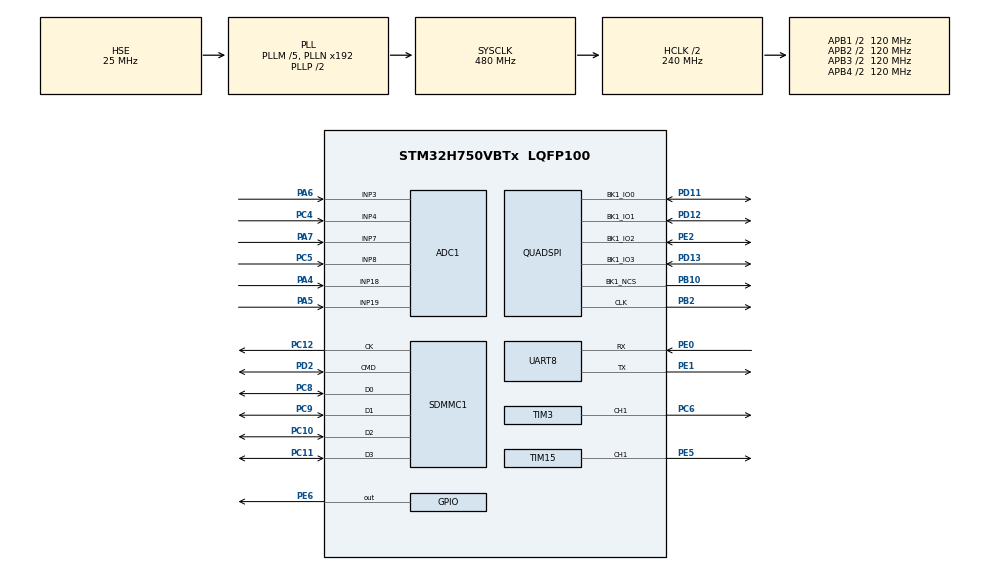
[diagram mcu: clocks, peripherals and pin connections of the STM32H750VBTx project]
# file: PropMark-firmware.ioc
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ADC1.Channel-1\#ChannelRegularConversion=ADC_CHANNEL_19
ADC1.NbrOfConversionFlag=1
ADC1.OffsetNumber-1\#ChannelRegularConversion=ADC_OFFSET_NONE
ADC1.OffsetSignedSaturation-1\#ChannelRegularConversion=DISABLE
ADC1.Rank-1\#ChannelRegularConversion=1
ADC1.SamplingTime-1\#ChannelRegularConversion=ADC_SAMPLETIME_1CYCLE_5
ADC1.master=1
Dma.Request0=TIM3_CH1
Dma.TIM3_CH1.0.Direction=DMA_MEMORY_TO_PERIPH
Dma.TIM3_CH1.0.EventEnable=DISABLE
Dma.TIM3_CH1.0.FIFOMode=DMA_FIFOMODE_DISABLE
Dma.TIM3_CH1.0.Instance=DMA1_Stream4
Dma.TIM3_CH1.0.MemDataAlignment=DMA_MDATAALIGN_HALFWORD
Dma.TIM3_CH1.0.MemInc=DMA_MINC_ENABLE
Dma.TIM3_CH1.0.Mode=DMA_NORMAL
Dma.TIM3_CH1.0.PeriphDataAlignment=DMA_PDATAALIGN_HALFWORD
Dma.TIM3_CH1.0.PeriphInc=DMA_PINC_DISABLE
Dma.TIM3_CH1.0.Polarity=HAL_DMAMUX_REQ_GEN_RISING
Dma.TIM3_CH1.0.Priority=DMA_PRIORITY_LOW
Dma.TIM3_CH1.0.RequestNumber=1
Dma.TIM3_CH1.0.SignalID=NONE
Dma.TIM3_CH1.0.SyncEnable=DISABLE
Dma.TIM3_CH1.0.SyncPolarity=HAL_DMAMUX_SYNC_NO_EVENT
Dma.TIM3_CH1.0.SyncRequestNumber=1
Dma.TIM3_CH1.0.SyncSignalID=NONE
FATFS.USE_DMA_CODE_SD=1
FATFS._MAX_SS=4096
FATFS._USE_LFN=1
Mcu.Family=STM32H7
Mcu.Name=STM32H750VBTx
Mcu.Package=LQFP100
NVIC.DMA1_Stream4_IRQn=true\:0\:0\:false\:false\:true\:false\:true\:true
NVIC.PriorityGroup=NVIC_PRIORITYGROUP_4
NVIC.SDMMC1_IRQn=true\:0\:0\:false\:false\:true\:true\:true\:true
NVIC.TIM6_DAC_IRQn=true\:0\:0\:false\:false\:true\:true\:true\:true
PA13\ (JTMS/SWDIO).Mode=Serial_Wire
PA13\ (JTMS/SWDIO).Signal=DEBUG_JTMS-SWDIO
PA14\ (JTCK/SWCLK).Mode=Serial_Wire
PA14\ (JTCK/SWCLK).Signal=DEBUG_JTCK-SWCLK
PA4.Signal=ADCx_INP18
PA5.Signal=ADCx_INP19
PA6.Signal=ADCx_INP3
PA7.Signal=ADCx_INP7
PB10.Mode=Single Bank 1
PB10.Signal=QUADSPI_BK1_NCS
PB2.Mode=Single Bank 1
PB2.Signal=QUADSPI_CLK
PB8.Signal=UART4_RX
PC10.GPIO_Speed_High_Default=GPIO_SPEED_FREQ_MEDIUM
PC10.Mode=SD_4_bits_Wide_bus
PC10.Signal=SDMMC1_D2
PC11.GPIO_PuPd=GPIO_PULLUP
PC11.GPIO_Speed_High_Default=GPIO_SPEED_FREQ_MEDIUM
PC11.Mode=SD_4_bits_Wide_bus
PC11.Signal=SDMMC1_D3
PC12.GPIO_Speed_High_Default=GPIO_SPEED_FREQ_MEDIUM
PC12.Mode=SD_4_bits_Wide_bus
PC12.Signal=SDMMC1_CK
PC4.Signal=ADCx_INP4
PC5.Signal=ADCx_INP8
PC6.GPIO_ModeDefaultPP=GPIO_MODE_AF_PP
PC6.GPIO_Speed=GPIO_SPEED_FREQ_MEDIUM
PC6.Signal=S_TIM3_CH1
PC8.GPIO_Speed_High_Default=GPIO_SPEED_FREQ_MEDIUM
PC8.Mode=SD_4_bits_Wide_bus
PC8.Signal=SDMMC1_D0
PC9.GPIO_Speed_High_Default=GPIO_SPEED_FREQ_MEDIUM
PC9.Mode=SD_4_bits_Wide_bus
PC9.Signal=SDMMC1_D1
PD11.Mode=Single Bank 1
PD11.Signal=QUADSPI_BK1_IO0
PD12.Mode=Single Bank 1
PD12.Signal=QUADSPI_BK1_IO1
PD13.Mode=Single Bank 1
PD13.Signal=QUADSPI_BK1_IO3
PD2.GPIO_Speed_High_Default=GPIO_SPEED_FREQ_MEDIUM
PD2.Mode=SD_4_bits_Wide_bus
PD2.Signal=SDMMC1_CMD
PE0.Mode=Asynchronous
PE0.Signal=UART8_RX
PE1.Mode=Asynchronous
PE1.Signal=UART8_TX
PE2.Mode=Single Bank 1
PE2.Signal=QUADSPI_BK1_IO2
PE5.GPIO_Speed=GPIO_SPEED_FREQ_MEDIUM
PE5.Signal=S_TIM15_CH1
PE6.PinState=GPIO_PIN_RESET
PE6.Signal=GPIO_Output
PH0-OSC_IN\ (PH0).Mode=HSE-External-Oscillator
PH0-OSC_IN\ (PH0).Signal=RCC_OSC_IN
PH1-OSC_OUT\ (PH1).Mode=HSE-External-Oscillator
PH1-OSC_OUT\ (PH1).Signal=RCC_OSC_OUT
ProjectManager.HeapSize=0x400
ProjectManager.StackSize=0x800
ProjectManager.TargetToolchain=STM32CubeIDE
QUADSPI.ClockPrescaler=80-1
RCC.ADCFreq_Value=80000000
RCC.APB1Freq_Value=120000000
RCC.APB2Freq_Value=120000000
RCC.APB3Freq_Value=120000000
RCC.APB4Freq_Value=120000000
RCC.CortexFreq_Value=480000000
RCC.D1PPRE=RCC_APB3_DIV2
RCC.D2PPRE1=RCC_APB1_DIV2
RCC.D2PPRE2=RCC_APB2_DIV2
RCC.D3PPRE=RCC_APB4_DIV2
RCC.DIVM1=5
RCC.DIVM2=5
RCC.DIVM3=5
RCC.DIVN1=192
RCC.DIVN2=192
RCC.DIVN3=192
RCC.DIVP2=12
RCC.DIVQ1=20
RCC.HCLKFreq_Value=240000000
RCC.HPRE=RCC_HCLK_DIV2
RCC.PLL1_VCI_Range-AdvancedSettings=RCC_PLL1VCIRANGE_3
RCC.PLL2_VCI_Range-AdvancedSettings=RCC_PLL2VCIRANGE_0
RCC.PLLSourceVirtual=RCC_PLLSOURCE_HSE
RCC.SYSCLKFreq_VALUE=480000000
RCC.SYSCLKSource=RCC_SYSCLKSOURCE_PLLCLK
RCC.USBFreq_Value=48000000
SDMMC1.ClockDiv=0
SH.ADCx_INP18.0=ADC1_INP18,IN18-Single-Ended
SH.ADCx_INP19.0=ADC1_INP19,IN19-Single-Ended
SH.ADCx_INP3.0=ADC1_INP3,IN3-Single-Ended
SH.ADCx_INP4.0=ADC1_INP4,IN4-Single-Ended
SH.ADCx_INP7.0=ADC1_INP7,IN7-Single-Ended
SH.ADCx_INP8.0=ADC1_INP8,IN8-Single-Ended
SH.S_TIM15_CH1.0=TIM15_CH1,PWM Generation1 CH1
SH.S_TIM3_CH1.0=TIM3_CH1,PWM Generation1 CH1
TIM15.Channel-PWM\ Generation1\ CH1=TIM_CHANNEL_1
TIM15.Period=50000-1
TIM15.Prescaler=96-1
TIM15.Pulse-PWM\ Generation1\ CH1=2500
TIM3.AutoReloadPreload=TIM_AUTORELOAD_PRELOAD_ENABLE
TIM3.Channel-PWM\ Generation1\ CH1=TIM_CHANNEL_1
TIM3.Period=300-1
TIM6.Period=10000-1
TIM6.Prescaler=240-1
VP_FATFS_VS_SDIO.Mode=SDIO
VP_MEMORYMAP_VS_MEMORYMAP.Mode=CurAppReg
VP_TIM15_VS_ClockSourceINT.Mode=Internal
VP_TIM3_VS_ClockSourceINT.Mode=Internal
VP_TIM6_VS_ClockSourceINT.Mode=Enable_Timer
board=custom

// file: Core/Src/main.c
/* USER CODE BEGIN Header */
/**
 ******************************************************************************
 * @file           : main.c
 * @brief          : Main program body
 ******************************************************************************
 * @attention
 *
 * Copyright (c) 2025 STMicroelectronics.
 * All rights reserved.
 *
 * This software is licensed under terms that can be found in the LICENSE file
 * in the root directory of this software component.
 * If no LICENSE file comes with this software, it is provided AS-IS.
 *
 ******************************************************************************
 */
/* USER CODE END Header */
#include "main.h"
#include "adc.h"
#include "dma.h"
#include "fatfs.h"
#include "memorymap.h"
#include "quadspi.h"
#include "sdmmc.h"
#include "tim.h"
#include "usart.h"
#include "gpio.h"

/* USER CODE BEGIN Includes */
#include "stdint.h"
#include "string.h"
#include "stdio.h"
/* USER CODE END Includes */

/* USER CODE BEGIN PV */
volatile uint16_t DMABufferWS2812[NUM_OF_LED * 24];
volatile char TxBuffer[250];

const uint8_t COS256[256] = {
    255, 255, 255, 255, 254, 254, 254, 253, 253, 252, 251, 250, 249, 249, 248,
    246, 245, 244, 243, 241, 240, 238, 237, 235, 233, 232, 230, 228, 226, 224,
    222, 220, 218, 215, 213, 211, 208, 206, 203, 201, 198, 195, 193, 190, 187,
    185, 182, 179, 176, 173, 170, 167, 164, 161, 158, 155, 152, 149, 146, 143,
    140, 136, 133, 130, 127, 124, 121, 118, 114, 111, 108, 105, 102, 99, 96,
    93, 90, 87, 84, 81, 78, 75, 72, 69, 67, 64, 61, 59, 56, 53,
    51, 48, 46, 43, 41, 39, 36, 34, 32, 30, 28, 26, 24, 22, 21,
    19, 17, 16, 14, 13, 11, 10, 9, 8, 6, 5, 5, 4, 3, 2,
    1, 1, 0, 0, 0, 0, 0, 0, 0, 0, 0, 0, 0, 0, 0,
    1, 1, 2, 3, 4, 5, 5, 6, 8, 9, 10, 11, 13, 14, 16,
    17, 19, 21, 22, 24, 26, 28, 30, 32, 34, 36, 39, 41, 43, 46,
    48, 51, 53, 56, 59, 61, 64, 67, 69, 72, 75, 78, 81, 84, 87,
    90, 93, 96, 99, 102, 105, 108, 111, 114, 118, 121, 124, 127, 130, 133,
    136, 140, 143, 146, 149, 152, 155, 158, 161, 164, 167, 170, 173, 176, 179,
    182, 185, 187, 190, 193, 195, 198, 201, 203, 206, 208, 211, 213, 215, 218,
    220, 222, 224, 226, 228, 230, 232, 233, 235, 237, 238, 240, 241, 243, 244,
    245, 246, 248, 249, 249, 250, 251, 252, 253, 253, 254, 254, 254, 255, 255,
    255};
/* USER CODE END PV */

void SystemClock_Config(void);
/* USER CODE BEGIN PFP */
void WsSet(uint8_t index, uint8_t r, uint8_t g, uint8_t b);
void WsSetAll(uint8_t r, uint8_t g, uint8_t b);

static void SDIO_SDCard_Test(void)
{
    FATFS FatFs;
    FIL Fil;
    FRESULT FR_Status;
    FATFS *FS_Ptr;
    UINT RWC, WWC; // Read/Write Word Counter
    DWORD FreeClusters;
    uint32_t TotalSize, FreeSpace;
    char RW_Buffer[200];

    do
    {
        //------------------[ Mount The SD Card ]--------------------
        FR_Status = f_mount(&FatFs, SDPath, 1);
        if (FR_Status != FR_OK)
        {
            sprintf(TxBuffer, "Error! While Mounting SD Card, Error Code: (%i)\r\n", FR_Status);
            HAL_UART_Transmit(&huart8, (uint8_t *)TxBuffer, strlen(TxBuffer), 100);
            break;
        }
        sprintf(TxBuffer, "SD Card Mounted Successfully! \r\n\n");
        HAL_UART_Transmit(&huart8, (uint8_t *)TxBuffer, strlen(TxBuffer), 100);
        //------------------[ Get & Print The SD Card Size & Free Space ]--------------------
        f_getfree("", &FreeClusters, &FS_Ptr);
        TotalSize = (uint32_t)((FS_Ptr->n_fatent - 2) * FS_Ptr->csize * 0.5);
        FreeSpace = (uint32_t)(FreeClusters * FS_Ptr->csize * 0.5);
        sprintf(TxBuffer, "Total SD Card Size: %lu Bytes\r\n", TotalSize);
        HAL_UART_Transmit(&huart8, (uint8_t *)TxBuffer, strlen(TxBuffer), 100);
        sprintf(TxBuffer, "Free SD Card Space: %lu Bytes\r\n\n", FreeSpace);
        HAL_UART_Transmit(&huart8, (uint8_t *)TxBuffer, strlen(TxBuffer), 100);
        //------------------[ Open A Text File For Write & Write Data ]--------------------
        // Open the file
        FR_Status = f_open(&Fil, "MyTextFile.txt", FA_WRITE | FA_READ | FA_CREATE_ALWAYS);
        if (FR_Status != FR_OK)
        {
            sprintf(TxBuffer, "Error! While Creating/Opening A New Text File, Error Code: (%i)\r\n", FR_Status);
            HAL_UART_Transmit(&huart8, (uint8_t *)TxBuffer, strlen(TxBuffer), 100);
            break;
        }
        sprintf(TxBuffer, "Text File Created & Opened! Writing Data To The Text File..\r\n\n");
        HAL_UART_Transmit(&huart8, (uint8_t *)TxBuffer, strlen(TxBuffer), 100);
        // (1) Write Data To The Text File [ Using f_puts() Function ]
        f_puts("Hello! From STM32 To SD Card Over SDMMC, Using f_puts()\n", &Fil);
        // (2) Write Data To The Text File [ Using f_write() Function ]
        strcpy(RW_Buffer, "Hello! From STM32 To SD Card Over SDMMC, Using f_write()\r\n");
        f_write(&Fil, RW_Buffer, strlen(RW_Buffer), &WWC);
        // Close The File
        f_close(&Fil);
        //------------------[ Open A Text File For Read & Read Its Data ]--------------------
        // Open The File
        FR_Status = f_open(&Fil, "MyTextFile.txt", FA_READ);
        if (FR_Status != FR_OK)
        {
            sprintf(TxBuffer, "Error! While Opening (MyTextFile.txt) File For Read.. \r\n");
            HAL_UART_Transmit(&huart8, (uint8_t *)TxBuffer, strlen(TxBuffer), 100);
            break;
        }
        // (1) Read The Text File's Data [ Using f_gets() Function ]
        f_gets(RW_Buffer, sizeof(RW_Buffer), &Fil);
        sprintf(TxBuffer, "Data Read From (MyTextFile.txt) Using f_gets():%s", RW_Buffer);
        HAL_UART_Transmit(&huart8, (uint8_t *)TxBuffer, strlen(TxBuffer), 100);
        // (2) Read The Text File's Data [ Using f_read() Function ]
        f_read(&Fil, RW_Buffer, f_size(&Fil), &RWC);
        sprintf(TxBuffer, "Data Read From (MyTextFile.txt) Using f_read():%s", RW_Buffer);
        HAL_UART_Transmit(&huart8, (uint8_t *)TxBuffer, strlen(TxBuffer), 100);
        // Close The File
        f_close(&Fil);
        sprintf(TxBuffer, "File Closed! \r\n\n");
        HAL_UART_Transmit(&huart8, (uint8_t *)TxBuffer, strlen(TxBuffer), 100);
        //------------------[ Open An Existing Text File, Update Its Content, Read It Back ]--------------------
        // (1) Open The Existing File For Write (Update)
        FR_Status = f_open(&Fil, "MyTextFile.txt", FA_OPEN_EXISTING | FA_WRITE);
        FR_Status = f_lseek(&Fil, f_size(&Fil)); // Move The File Pointer To The EOF (End-Of-File)
        if (FR_Status != FR_OK)
        {
            sprintf(TxBuffer, "Error! While Opening (MyTextFile.txt) File For Update.. \r\n");
            HAL_UART_Transmit(&huart8, (uint8_t *)TxBuffer, strlen(TxBuffer), 100);
            break;
        }
        // (2) Write New Line of Text Data To The File
        FR_Status = f_puts("This New Line Was Added During File Update!\r\n", &Fil);
        f_close(&Fil);
        memset(RW_Buffer, '\0', sizeof(RW_Buffer)); // Clear The Buffer
        // (3) Read The Contents of The Text File After The Update
        FR_Status = f_open(&Fil, "MyTextFile.txt", FA_READ); // Open The File For Read
        f_read(&Fil, RW_Buffer, f_size(&Fil), &RWC);
        sprintf(TxBuffer, "Data Read From (MyTextFile.txt) After Update:\r\n%s", RW_Buffer);
        HAL_UART_Transmit(&huart8, (uint8_t *)TxBuffer, strlen(TxBuffer), 100);
        f_close(&Fil);
        //------------------[ Delete The Text File ]--------------------
        // Delete The File
        /*
        FR_Status = f_unlink(MyTextFile.txt);
        if (FR_Status != FR_OK){
            sprintf(TxBuffer, "Error! While Deleting The (MyTextFile.txt) File.. \r\n");
            USC_CDC_Print(TxBuffer);
        }
        */
    } while (0);
    //------------------[ Test Complete! Unmount The SD Card ]--------------------
    FR_Status = f_mount(NULL, "", 0);
    if (FR_Status != FR_OK)
    {
        sprintf(TxBuffer, "\r\nError! While Un-mounting SD Card, Error Code: (%i)\r\n", FR_Status);
        HAL_UART_Transmit(&huart8, (uint8_t *)TxBuffer, strlen(TxBuffer), 100);
    }
    else
    {
        sprintf(TxBuffer, "\r\nSD Card Un-mounted Successfully! \r\n");
        HAL_UART_Transmit(&huart8, (uint8_t *)TxBuffer, strlen(TxBuffer), 100);
    }
}
/* USER CODE END PFP */

int main(void)
{

    /* MCU Configuration--------------------------------------------------------*/

    /* Reset of all peripherals, Initializes the Flash interface and the Systick. */
    HAL_Init();

    /* Configure the system clock */
    SystemClock_Config();

    /* Initialize all configured peripherals */
    MX_GPIO_Init();
    MX_DMA_Init();
    MX_ADC1_Init();
    MX_TIM3_Init();
    MX_TIM15_Init();
    MX_UART8_Init();
    MX_QUADSPI_Init();
    MX_SDMMC1_SD_Init();
    MX_FATFS_Init();
    MX_TIM6_Init();
    /* USER CODE BEGIN 2 */

    // HAL_TIM_Base_Start_IT(&htim6);

    HAL_Delay(1000);
    HAL_TIM_PWM_Start(&htim15, TIM_CHANNEL_1);

    // arming sequence
    // __HAL_TIM_SET_COMPARE(&htim15, TIM_CHANNEL_1, 5000);
    // HAL_Delay(1000);
    // __HAL_TIM_SET_COMPARE(&htim15, TIM_CHANNEL_1, 2500);
    // HAL_Delay(1000);

    /* USER CODE END 2 */

    /* Infinite loop */
    /* USER CODE BEGIN WHILE */

    // HAL_Delay(1000);
    // SDIO_SDCard_Test();
    // for (int i = 2500; i <= 5000; i += 2)
    // {
    //     __HAL_TIM_SET_COMPARE(&htim15, TIM_CHANNEL_1, i);
    //     HAL_Delay(1);
    // }
    // for (int i = 5000; i >= 2500; i -= 2)
    // {
    //     __HAL_TIM_SET_COMPARE(&htim15, TIM_CHANNEL_1, i);
    //     HAL_Delay(1);
    // }

    uint8_t index = 0;

    while (1)
    {
        for (int i = 0; i < NUM_OF_LED - 1; i++)
        {
            WsSet(i, COS256[index] >> 4, COS256[(uint8_t)(index + (256 / 3))] >> 4, COS256[(uint8_t)(index - (256 / 3))] >> 4);
            index += 3;
            WsShow();
            HAL_Delay(50);
            WsSet(i, 0, 0, 0);
            WsShow();
        }
        for (int i = NUM_OF_LED - 1; i > 0; i--)
        {
            WsSet(i, COS256[index] >> 4, COS256[(uint8_t)(index + (256 / 3))] >> 4, COS256[(uint8_t)(index - (256 / 3))] >> 4);
            index += 3;
            WsShow();
            HAL_Delay(50);
            WsSet(i, 0, 0, 0);
            WsShow();
        }

        /* USER CODE END WHILE */

    }
}

void SystemClock_Config(void)
{
    RCC_OscInitTypeDef RCC_OscInitStruct = {0};
    RCC_ClkInitTypeDef RCC_ClkInitStruct = {0};

    /** Supply configuration update enable
     */
    HAL_PWREx_ConfigSupply(PWR_LDO_SUPPLY);

    /** Configure the main internal regulator output voltage
     */
    __HAL_PWR_VOLTAGESCALING_CONFIG(PWR_REGULATOR_VOLTAGE_SCALE1);

    while (!__HAL_PWR_GET_FLAG(PWR_FLAG_VOSRDY))
    {
    }

    __HAL_RCC_SYSCFG_CLK_ENABLE();
    __HAL_PWR_VOLTAGESCALING_CONFIG(PWR_REGULATOR_VOLTAGE_SCALE0);

    while (!__HAL_PWR_GET_FLAG(PWR_FLAG_VOSRDY))
    {
    }

    /** Initializes the RCC Oscillators according to the specified parameters
     * in the RCC_OscInitTypeDef structure.
     */
    RCC_OscInitStruct.OscillatorType = RCC_OSCILLATORTYPE_HSE;
    RCC_OscInitStruct.HSEState = RCC_HSE_ON;
    RCC_OscInitStruct.PLL.PLLState = RCC_PLL_ON;
    RCC_OscInitStruct.PLL.PLLSource = RCC_PLLSOURCE_HSE;
    RCC_OscInitStruct.PLL.PLLM = 5;
    RCC_OscInitStruct.PLL.PLLN = 192;
    RCC_OscInitStruct.PLL.PLLP = 2;
    RCC_OscInitStruct.PLL.PLLQ = 20;
    RCC_OscInitStruct.PLL.PLLR = 2;
    RCC_OscInitStruct.PLL.PLLRGE = RCC_PLL1VCIRANGE_2;
    RCC_OscInitStruct.PLL.PLLVCOSEL = RCC_PLL1VCOWIDE;
    RCC_OscInitStruct.PLL.PLLFRACN = 0;
    if (HAL_RCC_OscConfig(&RCC_OscInitStruct) != HAL_OK)
    {
        Error_Handler();
    }

    /** Initializes the CPU, AHB and APB buses clocks
     */
    RCC_ClkInitStruct.ClockType = RCC_CLOCKTYPE_HCLK | RCC_CLOCKTYPE_SYSCLK | RCC_CLOCKTYPE_PCLK1 | RCC_CLOCKTYPE_PCLK2 | RCC_CLOCKTYPE_D3PCLK1 | RCC_CLOCKTYPE_D1PCLK1;
    RCC_ClkInitStruct.SYSCLKSource = RCC_SYSCLKSOURCE_PLLCLK;
    RCC_ClkInitStruct.SYSCLKDivider = RCC_SYSCLK_DIV1;
    RCC_ClkInitStruct.AHBCLKDivider = RCC_HCLK_DIV2;
    RCC_ClkInitStruct.APB3CLKDivider = RCC_APB3_DIV2;
    RCC_ClkInitStruct.APB1CLKDivider = RCC_APB1_DIV2;
    RCC_ClkInitStruct.APB2CLKDivider = RCC_APB2_DIV2;
    RCC_ClkInitStruct.APB4CLKDivider = RCC_APB4_DIV2;

    if (HAL_RCC_ClockConfig(&RCC_ClkInitStruct, FLASH_LATENCY_4) != HAL_OK)
    {
        Error_Handler();
    }
}

/* USER CODE BEGIN 4 */
void HAL_ADC_ConvCpltCallback(ADC_HandleTypeDef *hadc)
{
}

void WsSet(uint8_t index, uint8_t r, uint8_t g, uint8_t b)
{
    index *= 24;
    uint8_t i = 0, mask;
    for (mask = 0x80; mask > 0; i++, mask >>= 1)
    {
        if (g & mask)
            DMABufferWS2812[index + i] = WS2812_PULSE_1;
        else
            DMABufferWS2812[index + i] = WS2812_PULSE_0;
    }
    for (mask = 0x80; mask > 0; i++, mask >>= 1)
    {
        if (r & mask)
            DMABufferWS2812[index + i] = WS2812_PULSE_1;
        else
            DMABufferWS2812[index + i] = WS2812_PULSE_0;
    }
    for (mask = 0x80; mask > 0; i++, mask >>= 1)
    {
        if (b & mask)
            DMABufferWS2812[index + i] = WS2812_PULSE_1;
        else
            DMABufferWS2812[index + i] = WS2812_PULSE_0;
    }
}

void WsSetAll(uint8_t r, uint8_t g, uint8_t b)
{
    for (int i = 0; i < NUM_OF_LED; i++)
    {
        WsSet(i, r, g, b);
    }
}

void HAL_TIM_PeriodElapsedCallback(TIM_HandleTypeDef *htim)
{
    // if (htim == &htim6)
    // {
    //     WsShow();
    // }
}

void HAL_TIM_PWM_PulseFinishedCallback(TIM_HandleTypeDef *htim)
{
    if (htim == &htim3)
    {
        __HAL_TIM_SET_COMPARE(&htim3, TIM_CHANNEL_1, 0);
        HAL_TIM_PWM_Stop_DMA(&htim3, TIM_CHANNEL_1);
    }
}
/* USER CODE END 4 */

void Error_Handler(void)
{
    __disable_irq();
    while (1)
    {
    }
}
